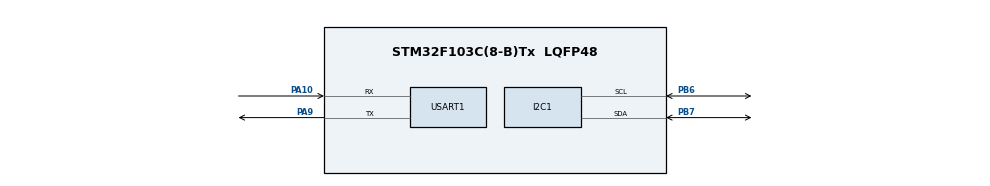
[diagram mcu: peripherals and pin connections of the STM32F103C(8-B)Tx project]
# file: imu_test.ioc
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Mcu.Family=STM32F1
Mcu.Name=STM32F103C(8-B)Tx
Mcu.Package=LQFP48
NVIC.PriorityGroup=NVIC_PRIORITYGROUP_4
PA10.Mode=Asynchronous
PA10.Signal=USART1_RX
PA13.Mode=Serial_Wire
PA13.Signal=SYS_JTMS-SWDIO
PA14.Mode=Serial_Wire
PA14.Signal=SYS_JTCK-SWCLK
PA9.Mode=Asynchronous
PA9.Signal=USART1_TX
PB6.Mode=I2C
PB6.Signal=I2C1_SCL
PB7.Mode=I2C
PB7.Signal=I2C1_SDA
ProjectManager.HeapSize=0x200
ProjectManager.StackSize=0x400
ProjectManager.TargetToolchain=CMake
RCC.APB1Freq_Value=8000000
RCC.APB2Freq_Value=8000000
USART1.VirtualMode=VM_ASYNC
board=custom

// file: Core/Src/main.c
/* USER CODE BEGIN Header */
/**
  ******************************************************************************
  * @file           : main.c
  * @brief          : Main program body - MPU-6050 Full Implementation
  ******************************************************************************
  * @attention
  *
  * Copyright (c) 2025 STMicroelectronics.
  * All rights reserved.
  *
  * This software is licensed under terms that can be found in the LICENSE file
  * in the root directory of this software component.
  * If no LICENSE file comes with this software, it is provided AS-IS.
  *
  ******************************************************************************
  */
/* USER CODE END Header */
#include "main.h"

/* USER CODE BEGIN Includes */
#include <stdio.h>
#include <string.h>
#include <math.h>
/* USER CODE END Includes */

/* USER CODE BEGIN PTD */
typedef struct {
    int16_t Accel_X_RAW;
    int16_t Accel_Y_RAW;
    int16_t Accel_Z_RAW;
    float Ax;
    float Ay;
    float Az;

    int16_t Gyro_X_RAW;
    int16_t Gyro_Y_RAW;
    int16_t Gyro_Z_RAW;
    float Gx;
    float Gy;
    float Gz;

    int16_t Temp_RAW;
    float Temperature;

    float Roll;
    float Pitch;
} MPU6050_t;
/* USER CODE END PTD */

/* USER CODE BEGIN PD */
// MPU6050 I2C Address
#define MPU6050_ADDR 0xD0  // AD0 pin low (0x68 << 1)

// MPU6050 Registers
#define WHO_AM_I_REG 0x75
#define PWR_MGMT_1_REG 0x6B
#define SMPLRT_DIV_REG 0x19
#define CONFIG_REG 0x1A
#define GYRO_CONFIG_REG 0x1B
#define ACCEL_CONFIG_REG 0x1C
#define INT_ENABLE_REG 0x38
#define ACCEL_XOUT_H_REG 0x3B
#define TEMP_OUT_H_REG 0x41
#define GYRO_XOUT_H_REG 0x43
#define FIFO_EN_REG 0x23
#define USER_CTRL_REG 0x6A
#define FIFO_COUNTH_REG 0x72
#define FIFO_R_W_REG 0x74

// Configuration values
#define ACCEL_SCALE_2G 0x00
#define ACCEL_SCALE_4G 0x08
#define ACCEL_SCALE_8G 0x10
#define ACCEL_SCALE_16G 0x18

#define GYRO_SCALE_250 0x00
#define GYRO_SCALE_500 0x08
#define GYRO_SCALE_1000 0x10
#define GYRO_SCALE_2000 0x18
/* USER CODE END PD */

I2C_HandleTypeDef hi2c1;

UART_HandleTypeDef huart1;

/* USER CODE BEGIN PV */
MPU6050_t MPU6050;
char uart_buffer[200];
/* USER CODE END PV */

void SystemClock_Config(void);
static void MX_GPIO_Init(void);
static void MX_I2C1_Init(void);
static void MX_USART1_UART_Init(void);
/* USER CODE BEGIN PFP */
uint8_t MPU6050_Init(void);
void MPU6050_Read_Accel(void);
void MPU6050_Read_Gyro(void);
void MPU6050_Read_Temp(void);
void MPU6050_Read_All(void);
void MPU6050_Calculate_Angles(void);
uint8_t MPU6050_Read_Register(uint8_t reg);
void MPU6050_Write_Register(uint8_t reg, uint8_t value);
/* USER CODE END PFP */

/* USER CODE BEGIN 0 */

/**
  * @brief  Write to MPU6050 register
  * @param  reg: Register address
  * @param  value: Value to write
  * @retval None
  */
void MPU6050_Write_Register(uint8_t reg, uint8_t value) {
    uint8_t data[2] = {reg, value};
    HAL_I2C_Master_Transmit(&hi2c1, MPU6050_ADDR, data, 2, HAL_MAX_DELAY);
}

/**
  * @brief  Read from MPU6050 register
  * @param  reg: Register address
  * @retval Register value
  */
uint8_t MPU6050_Read_Register(uint8_t reg) {
    uint8_t data;
    HAL_I2C_Mem_Read(&hi2c1, MPU6050_ADDR, reg, 1, &data, 1, HAL_MAX_DELAY);
    return data;
}

/**
  * @brief  Initialize MPU6050
  * @retval 0: Success, 1: Failure
  */
uint8_t MPU6050_Init(void) {
    uint8_t check;
    uint8_t data;

    // Check device ID WHO_AM_I
    HAL_I2C_Mem_Read(&hi2c1, MPU6050_ADDR, WHO_AM_I_REG, 1, &check, 1, HAL_MAX_DELAY);

    if (check == 0x68) {  // 0x68 is the default WHO_AM_I value
        // Wake up MPU6050
        data = 0x00;
        HAL_I2C_Mem_Write(&hi2c1, MPU6050_ADDR, PWR_MGMT_1_REG, 1, &data, 1, HAL_MAX_DELAY);

        // Set sample rate to 1kHz
        data = 0x07;
        HAL_I2C_Mem_Write(&hi2c1, MPU6050_ADDR, SMPLRT_DIV_REG, 1, &data, 1, HAL_MAX_DELAY);

        // Configure accelerometer (±2g)
        data = ACCEL_SCALE_2G;
        HAL_I2C_Mem_Write(&hi2c1, MPU6050_ADDR, ACCEL_CONFIG_REG, 1, &data, 1, HAL_MAX_DELAY);

        // Configure gyroscope (±250 deg/s)
        data = GYRO_SCALE_250;
        HAL_I2C_Mem_Write(&hi2c1, MPU6050_ADDR, GYRO_CONFIG_REG, 1, &data, 1, HAL_MAX_DELAY);

        // Set digital low-pass filter
        data = 0x03;  // ~44Hz bandwidth
        HAL_I2C_Mem_Write(&hi2c1, MPU6050_ADDR, CONFIG_REG, 1, &data, 1, HAL_MAX_DELAY);

        return 0;
    }
    return 1;
}

/**
  * @brief  Read accelerometer data
  * @retval None
  */
void MPU6050_Read_Accel(void) {
    uint8_t data[6];

    HAL_I2C_Mem_Read(&hi2c1, MPU6050_ADDR, ACCEL_XOUT_H_REG, 1, data, 6, HAL_MAX_DELAY);

    MPU6050.Accel_X_RAW = (int16_t)(data[0] << 8 | data[1]);
    MPU6050.Accel_Y_RAW = (int16_t)(data[2] << 8 | data[3]);
    MPU6050.Accel_Z_RAW = (int16_t)(data[4] << 8 | data[5]);

    // Convert to g (±2g range -> 16384 LSB/g)
    MPU6050.Ax = MPU6050.Accel_X_RAW / 16384.0f;
    MPU6050.Ay = MPU6050.Accel_Y_RAW / 16384.0f;
    MPU6050.Az = MPU6050.Accel_Z_RAW / 16384.0f;
}

/**
  * @brief  Read gyroscope data
  * @retval None
  */
void MPU6050_Read_Gyro(void) {
    uint8_t data[6];

    HAL_I2C_Mem_Read(&hi2c1, MPU6050_ADDR, GYRO_XOUT_H_REG, 1, data, 6, HAL_MAX_DELAY);

    MPU6050.Gyro_X_RAW = (int16_t)(data[0] << 8 | data[1]);
    MPU6050.Gyro_Y_RAW = (int16_t)(data[2] << 8 | data[3]);
    MPU6050.Gyro_Z_RAW = (int16_t)(data[4] << 8 | data[5]);

    // Convert to deg/s (±250 deg/s range -> 131 LSB/deg/s)
    MPU6050.Gx = MPU6050.Gyro_X_RAW / 131.0f;
    MPU6050.Gy = MPU6050.Gyro_Y_RAW / 131.0f;
    MPU6050.Gz = MPU6050.Gyro_Z_RAW / 131.0f;
}

/**
  * @brief  Read temperature data
  * @retval None
  */
void MPU6050_Read_Temp(void) {
    uint8_t data[2];

    HAL_I2C_Mem_Read(&hi2c1, MPU6050_ADDR, TEMP_OUT_H_REG, 1, data, 2, HAL_MAX_DELAY);

    MPU6050.Temp_RAW = (int16_t)(data[0] << 8 | data[1]);

    // Convert to Celsius: Temp = (TEMP_OUT / 340) + 36.53
    MPU6050.Temperature = (MPU6050.Temp_RAW / 340.0f) + 36.53f;
}

/**
  * @brief  Calculate roll and pitch angles
  * @retval None
  */
void MPU6050_Calculate_Angles(void) {
    // Calculate roll and pitch from accelerometer
    MPU6050.Roll = atan2(MPU6050.Ay, MPU6050.Az) * 180.0f / M_PI;
    MPU6050.Pitch = atan2(-MPU6050.Ax, sqrt(MPU6050.Ay * MPU6050.Ay + MPU6050.Az * MPU6050.Az)) * 180.0f / M_PI;
}

/**
  * @brief  Read all sensor data
  * @retval None
  */
void MPU6050_Read_All(void) {
    MPU6050_Read_Accel();
    MPU6050_Read_Gyro();
    MPU6050_Read_Temp();
    MPU6050_Calculate_Angles();
}

/* USER CODE END 0 */

int main(void)
{

  /* MCU Configuration--------------------------------------------------------*/

  /* Reset of all peripherals, Initializes the Flash interface and the Systick. */
  HAL_Init();

  /* Configure the system clock */
  SystemClock_Config();

  /* Initialize all configured peripherals */
  MX_GPIO_Init();
  MX_I2C1_Init();
  MX_USART1_UART_Init();
  /* USER CODE BEGIN 2 */

  // Initialize MPU6050
  if (MPU6050_Init() == 0) {
      sprintf(uart_buffer, "MPU6050 Initialized Successfully!\r\n");
      HAL_UART_Transmit(&huart1, (uint8_t*)uart_buffer, strlen(uart_buffer), HAL_MAX_DELAY);
  } else {
      sprintf(uart_buffer, "MPU6050 Initialization Failed!\r\n");
      HAL_UART_Transmit(&huart1, (uint8_t*)uart_buffer, strlen(uart_buffer), HAL_MAX_DELAY);
      while(1);  // Stop if initialization failed
  }

  HAL_Delay(100);

  /* USER CODE END 2 */

  /* Infinite loop */
  while (1)
  {

    /* USER CODE BEGIN 3 */

    // Read all sensor data
    MPU6050_Read_All();

    // Print accelerometer data
    sprintf(uart_buffer, "Accel: X=%.2f g, Y=%.2f g, Z=%.2f g\r\n",
            MPU6050.Ax, MPU6050.Ay, MPU6050.Az);
    HAL_UART_Transmit(&huart1, (uint8_t*)uart_buffer, strlen(uart_buffer), HAL_MAX_DELAY);

    // Print gyroscope data
    sprintf(uart_buffer, "Gyro:  X=%.2f °/s, Y=%.2f °/s, Z=%.2f °/s\r\n",
            MPU6050.Gx, MPU6050.Gy, MPU6050.Gz);
    HAL_UART_Transmit(&huart1, (uint8_t*)uart_buffer, strlen(uart_buffer), HAL_MAX_DELAY);

    // Print temperature
    sprintf(uart_buffer, "Temp:  %.2f °C\r\n", MPU6050.Temperature);
    HAL_UART_Transmit(&huart1, (uint8_t*)uart_buffer, strlen(uart_buffer), HAL_MAX_DELAY);

    // Print calculated angles
    sprintf(uart_buffer, "Angles: Roll=%.2f°, Pitch=%.2f°\r\n",
            MPU6050.Roll, MPU6050.Pitch);
    HAL_UART_Transmit(&huart1, (uint8_t*)uart_buffer, strlen(uart_buffer), HAL_MAX_DELAY);

    sprintf(uart_buffer, "-----------------------------------\r\n");
    HAL_UART_Transmit(&huart1, (uint8_t*)uart_buffer, strlen(uart_buffer), HAL_MAX_DELAY);

    HAL_Delay(500);  // Read every 500ms
  }
  /* USER CODE END 3 */
}

void SystemClock_Config(void)
{
  RCC_OscInitTypeDef RCC_OscInitStruct = {0};
  RCC_ClkInitTypeDef RCC_ClkInitStruct = {0};

  /** Initializes the RCC Oscillators according to the specified parameters
  * in the RCC_OscInitTypeDef structure.
  */
  RCC_OscInitStruct.OscillatorType = RCC_OSCILLATORTYPE_HSI;
  RCC_OscInitStruct.HSIState = RCC_HSI_ON;
  RCC_OscInitStruct.HSICalibrationValue = RCC_HSICALIBRATION_DEFAULT;
  RCC_OscInitStruct.PLL.PLLState = RCC_PLL_NONE;
  if (HAL_RCC_OscConfig(&RCC_OscInitStruct) != HAL_OK)
  {
    Error_Handler();
  }

  /** Initializes the CPU, AHB and APB buses clocks
  */
  RCC_ClkInitStruct.ClockType = RCC_CLOCKTYPE_HCLK|RCC_CLOCKTYPE_SYSCLK
                              |RCC_CLOCKTYPE_PCLK1|RCC_CLOCKTYPE_PCLK2;
  RCC_ClkInitStruct.SYSCLKSource = RCC_SYSCLKSOURCE_HSI;
  RCC_ClkInitStruct.AHBCLKDivider = RCC_SYSCLK_DIV1;
  RCC_ClkInitStruct.APB1CLKDivider = RCC_HCLK_DIV1;
  RCC_ClkInitStruct.APB2CLKDivider = RCC_HCLK_DIV1;

  if (HAL_RCC_ClockConfig(&RCC_ClkInitStruct, FLASH_LATENCY_0) != HAL_OK)
  {
    Error_Handler();
  }
}

static void MX_I2C1_Init(void)
{

  hi2c1.Instance = I2C1;
  hi2c1.Init.ClockSpeed = 100000;
  hi2c1.Init.DutyCycle = I2C_DUTYCYCLE_2;
  hi2c1.Init.OwnAddress1 = 0;
  hi2c1.Init.AddressingMode = I2C_ADDRESSINGMODE_7BIT;
  hi2c1.Init.DualAddressMode = I2C_DUALADDRESS_DISABLE;
  hi2c1.Init.OwnAddress2 = 0;
  hi2c1.Init.GeneralCallMode = I2C_GENERALCALL_DISABLE;
  hi2c1.Init.NoStretchMode = I2C_NOSTRETCH_DISABLE;
  if (HAL_I2C_Init(&hi2c1) != HAL_OK)
  {
    Error_Handler();
  }

}

static void MX_USART1_UART_Init(void)
{

  huart1.Instance = USART1;
  huart1.Init.BaudRate = 115200;
  huart1.Init.WordLength = UART_WORDLENGTH_8B;
  huart1.Init.StopBits = UART_STOPBITS_1;
  huart1.Init.Parity = UART_PARITY_NONE;
  huart1.Init.Mode = UART_MODE_TX_RX;
  huart1.Init.HwFlowCtl = UART_HWCONTROL_NONE;
  huart1.Init.OverSampling = UART_OVERSAMPLING_16;
  if (HAL_UART_Init(&huart1) != HAL_OK)
  {
    Error_Handler();
  }

}

static void MX_GPIO_Init(void)
{

  /* GPIO Ports Clock Enable */
  __HAL_RCC_GPIOA_CLK_ENABLE();
  __HAL_RCC_GPIOB_CLK_ENABLE();

}

void Error_Handler(void)
{
  __disable_irq();
  while (1)
  {
  }
}
